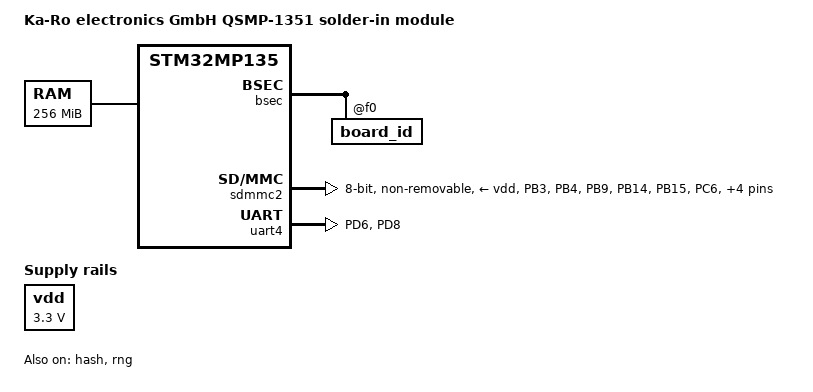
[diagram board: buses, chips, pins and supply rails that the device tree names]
// SPDX-License-Identifier: (GPL-2.0 OR BSD-3-Clause)
/*
 * Based on STM32CubeMX tool generated source.
 *
 * Copyright (C) 2024 Markus Bauer <MB@KARO-electronics.de>
 */

/dts-v1/;

#include <dt-bindings/pinctrl/stm32-pinfunc.h>
#include <dt-bindings/clock/stm32mp13-clksrc.h>
#include "stm32mp13-mx.h"

#include "stm32mp135.dtsi"
#include "stm32mp13xc.dtsi"
#include "stm32mp13-pinctrl.dtsi"
#include "stm32mp13-ddr.dtsi"

/ {
	model = "Ka-Ro electronics GmbH QSMP-1351 solder-in module";
	compatible = "st,stm32mp135c-qsmp-1351", "st,stm32mp135";

	memory@c0000000 {
		device_type = "memory";
		reg = <0xc0000000 0x10000000>;
	};

	aliases {
		serial0 = &uart4;
	};

	chosen {
		stdout-path = "serial0:115200n8";
	};

	clocks {
		clk_hsi: clk-hsi {
			clock-frequency = <32000000>;
		};

		clk_lse: clk-lse {
			clock-frequency = <32768>;
			st,drive = <LSEDRV_MEDIUM_HIGH>;
		};

		clk_hse: clk-hse {
			clock-frequency = <24000000>;
		};

		clk_i2sin: clk-i2sin {
			status = "disabled";
		};
	};

	vdd: regulator-3v3 {
		compatible = "regulator-fixed";
		regulator-name = "vdd";
		regulator-min-microvolt = <3300000>;
		regulator-max-microvolt = <3300000>;
		regulator-always-on;
	};
};

&bsec {
	status = "okay";

	board_id: board_id@f0 {
		reg = <0xf0 0x4>;
		st,non-secure-otp;
	};
};

&hash {
	status = "okay";
};

&pwr_regulators {
	vdd-supply = <&vdd>;
};

&rcc {
	status = "okay";

	st,clksrc = <
		CLK_MPU_PLL1P
		CLK_AXI_PLL2P
		CLK_MLAHBS_PLL3
		CLK_CKPER_DISABLED
		CLK_SDMMC2_HSI
		CLK_STGEN_HSI
		CLK_UART4_PCLK1
		CLK_RNG1_CSI
	>;
	st,clkdiv = <
		DIV(DIV_MPU, 1)
		DIV(DIV_AXI, 0)
		DIV(DIV_MLAHB, 0)
		DIV(DIV_APB1, 1)
		DIV(DIV_APB2, 1)
		DIV(DIV_APB3, 1)
		DIV(DIV_APB4, 1)
		DIV(DIV_APB5, 2)
		DIV(DIV_APB6, 1)
	>;

	st,pll_vco {
		pll1_vco_1300Mhz: pll1-vco-1300Mhz {
			src = <CLK_PLL12_HSE>;
			divmn = <2 80>;
			frac = <0x800>;
		};

		pll2_vco_1066Mhz: pll2-vco-1066Mhz {
			src = <CLK_PLL12_HSE>;
			divmn = <2 65>;
			frac = <0x1400>;
		};

		pll3_vco_417Mhz: pll3-vco-417Mhz {
			src = <CLK_PLL3_HSE>;
			divmn = <1 33>;
			frac = <0x1a04>;
		};
	};

	pll1:st,pll@0 {
		reg = <0>;
		compatible = "st,stm32mp1-pll";
		st,pll = <&pll1_cfg1>;

		pll1_cfg1: pll1_cfg1 {
			st,pll_vco = <&pll1_vco_1300Mhz>;
			st,pll_div_pqr = <0 1 1>;
		};
	};

	pll2:st,pll@1 {
		reg = <1>;
		compatible = "st,stm32mp1-pll";
		st,pll = <&pll2_cfg1>;

		pll2_cfg1: pll2_cfg1 {
			st,pll_vco = <&pll2_vco_1066Mhz>;
			st,pll_div_pqr = <1 1 0>;
		};
	};

	pll3:st,pll@2 {
		reg = <2>;
		compatible = "st,stm32mp1-pll";
		st,pll = <&pll3_cfg1>;

		pll3_cfg1: pll3_cfg1 {
			st,pll_vco = <&pll3_vco_417Mhz>;
			st,pll_div_pqr = <1 16 36>;
		};
	};
};

&rng {
	status = "okay";
};

&sdmmc2 {
	pinctrl-names = "default";
	pinctrl-0 = <&sdmmc2_pins>;
	non-removable;
	no-sd;
	no-sdio;
	st,neg-edge;
	bus-width = <8>;
	vmmc-supply = <&vdd>;
	vqmmc-supply = <&vdd>;
	mmc-ddr-3_3v;
	status = "okay";
};

&uart4 {
	pinctrl-names = "default";
	pinctrl-0 = <&uart4_pins>;
	status = "okay";
};

&pinctrl {
	sdmmc2_pins: sdmmc2-0 {
		pins1 {
			pinmux = <
				  STM32_PINMUX('B', 3, AF10) /* SDMMC2_D2 */
				  STM32_PINMUX('B', 4, AF10) /* SDMMC2_D3 */
				  STM32_PINMUX('B', 9, AF10) /* SDMMC2_D5 */
				  STM32_PINMUX('B', 14, AF10) /* SDMMC2_D0 */
				  STM32_PINMUX('B', 15, AF10) /* SDMMC2_D1 */
				  STM32_PINMUX('C', 6, AF10) /* SDMMC2_D6 */
				  STM32_PINMUX('C', 7, AF10) /* SDMMC2_D7 */
				  STM32_PINMUX('F', 0, AF10) /* SDMMC2_D4 */
				  STM32_PINMUX('G', 6, AF10) /* SDMMC2_CMD */
			>;
			bias-disable;
			drive-push-pull;
			slew-rate = <1>;
		};

		pins2 {
			pinmux = <STM32_PINMUX('E', 3, AF10)>; /* SDMMC2_CK */
			bias-disable;
			drive-push-pull;
			slew-rate = <3>;
		};
	};

	uart4_pins: uart4-0 {
		pins1 {
			pinmux = <STM32_PINMUX('D', 6, AF8)>; /* UART4_TX */
			bias-disable;
			drive-push-pull;
			slew-rate = <0>;
		};

		pins2 {
			pinmux = <STM32_PINMUX('D', 8, AF8)>; /* UART4_RX */
			bias-pull-up;
		};
	};
};
